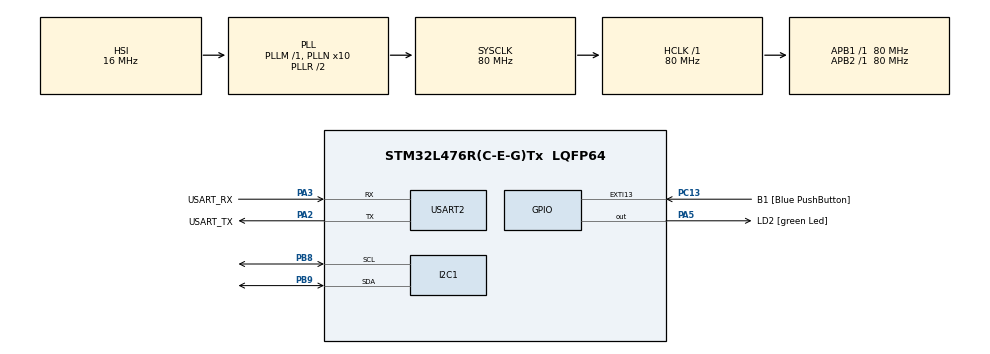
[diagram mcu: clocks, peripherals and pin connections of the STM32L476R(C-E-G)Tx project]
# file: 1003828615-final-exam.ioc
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I2C1.Timing=0x10909CEC
Mcu.Family=STM32L4
Mcu.Name=STM32L476R(C-E-G)Tx
Mcu.Package=LQFP64
NVIC.PriorityGroup=NVIC_PRIORITYGROUP_4
NVIC.USART2_IRQn=true\:0\:0\:false\:false\:true\:true\:true\:true
PA13\ (JTMS-SWDIO).GPIO_Label=TMS
PA13\ (JTMS-SWDIO).Mode=Serial_Wire
PA13\ (JTMS-SWDIO).Signal=SYS_JTMS-SWDIO
PA14\ (JTCK-SWCLK).GPIO_Label=TCK
PA14\ (JTCK-SWCLK).Mode=Serial_Wire
PA14\ (JTCK-SWCLK).Signal=SYS_JTCK-SWCLK
PA2.GPIO_Label=USART_TX
PA2.GPIO_Mode=GPIO_MODE_AF_PP
PA2.GPIO_PuPd=GPIO_NOPULL
PA2.GPIO_Speed=GPIO_SPEED_FREQ_VERY_HIGH
PA2.Mode=Asynchronous
PA2.Signal=USART2_TX
PA3.GPIO_Label=USART_RX
PA3.GPIO_Mode=GPIO_MODE_AF_PP
PA3.GPIO_PuPd=GPIO_NOPULL
PA3.GPIO_Speed=GPIO_SPEED_FREQ_VERY_HIGH
PA3.Mode=Asynchronous
PA3.Signal=USART2_RX
PA5.GPIO_Label=LD2 [green Led]
PA5.GPIO_ModeDefaultOutputPP=GPIO_MODE_OUTPUT_PP
PA5.GPIO_PuPd=GPIO_NOPULL
PA5.GPIO_Speed=GPIO_SPEED_FREQ_LOW
PA5.Signal=GPIO_Output
PB3\ (JTDO-TRACESWO).GPIO_Label=SWO
PB3\ (JTDO-TRACESWO).Signal=SYS_JTDO-SWO
PB8.Mode=I2C
PB8.Signal=I2C1_SCL
PB9.Mode=I2C
PB9.Signal=I2C1_SDA
PC13.GPIO_Label=B1 [Blue PushButton]
PC13.GPIO_ModeDefaultEXTI=GPIO_MODE_IT_FALLING
PC13.GPIO_PuPd=GPIO_NOPULL
PC13.Signal=GPXTI13
PC14-OSC32_IN\ (PC14).Mode=LSE-External-Oscillator
PC14-OSC32_IN\ (PC14).Signal=RCC_OSC32_IN
PC15-OSC32_OUT\ (PC15).Mode=LSE-External-Oscillator
PC15-OSC32_OUT\ (PC15).Signal=RCC_OSC32_OUT
PH0-OSC_IN\ (PH0).Signal=RCC_OSC_IN
PH1-OSC_OUT\ (PH1).Signal=RCC_OSC_OUT
ProjectManager.HeapSize=0x200
ProjectManager.StackSize=0x400
ProjectManager.TargetToolchain=STM32CubeIDE
RCC.ADCFreq_Value=64000000
RCC.AHBFreq_Value=80000000
RCC.APB1Freq_Value=80000000
RCC.APB1TimFreq_Value=80000000
RCC.APB2Freq_Value=80000000
RCC.APB2TimFreq_Value=80000000
RCC.CortexFreq_Value=80000000
RCC.HCLKFreq_Value=80000000
RCC.HSE_VALUE=8000000
RCC.HSI_VALUE=16000000
RCC.MSI_VALUE=4000000
RCC.PLLN=10
RCC.PLLSourceVirtual=RCC_PLLSOURCE_HSI
RCC.PREFETCH_ENABLE=1
RCC.SYSCLKFreq_VALUE=80000000
RCC.SYSCLKSource=RCC_SYSCLKSOURCE_PLLCLK
RCC.USBFreq_Value=64000000
RCC.VCOOutputFreq_Value=160000000
USART2.VirtualMode-Asynchronous=VM_ASYNC
board=NUCLEO-L476RG

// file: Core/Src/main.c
/* USER CODE BEGIN Header */
/**
  ******************************************************************************
  * @file           : main.c
  * @brief          : Main program body
  ******************************************************************************
  * @attention
  *
  * Copyright (c) 2023 STMicroelectronics.
  * All rights reserved.
  *
  * This software is licensed under terms that can be found in the LICENSE file
  * in the root directory of this software component.
  * If no LICENSE file comes with this software, it is provided AS-IS.
  *
  ******************************************************************************
  */
/* USER CODE END Header */
#include "main.h"

/* USER CODE BEGIN Includes */
#include "ssd1306.h"
#include "ssd1306_fonts.h"
#include "ring_buffer.h"
#include <stdio.h>
#include <string.h>
/* USER CODE END Includes */

I2C_HandleTypeDef hi2c1;

UART_HandleTypeDef huart2;

/* USER CODE BEGIN PV */

// Declare the ring buffer variables and variable for multiple fails
ring_buffer_t ring_buffer_rx;
uint8_t rx_buffer[10];
uint8_t rx_data;
uint8_t fails = 0;
/* USER CODE END PV */

void SystemClock_Config(void);
static void MX_GPIO_Init(void);
static void MX_USART2_UART_Init(void);
static void MX_I2C1_Init(void);

/* USER CODE BEGIN 0 */

int _write(int file, char *ptr, int len)
{
  HAL_UART_Transmit(&huart2, (uint8_t *)ptr, len, HAL_MAX_DELAY);
  return len;
}
/**
  * @brief  Rx Transfer completed callback.
  * @param  huart UART handle.
  * @retval None
  */
void HAL_UART_RxCpltCallback(UART_HandleTypeDef *huart)
{
	ring_buffer_put(&ring_buffer_rx, rx_data);

	HAL_UART_Receive_IT(&huart2, &rx_data, 1);
}

/**
  * @brief  Validate sequence received from uart.
  * @param  None
  * @retval None
  */

/* USER CODE END 0 */

int main(void)
{

  /* MCU Configuration--------------------------------------------------------*/

  /* Reset of all peripherals, Initializes the Flash interface and the Systick. */
  HAL_Init();

  /* Configure the system clock */
  SystemClock_Config();

  /* Initialize all configured peripherals */
  MX_GPIO_Init();
  MX_USART2_UART_Init();
  MX_I2C1_Init();
  /* USER CODE BEGIN 2 */
  // Init ring buffer
  ring_buffer_init(&ring_buffer_rx, rx_buffer, 10);
  // Declare UART interruption
  HAL_UART_Receive_IT(&huart2, &rx_data, 1);
  /* USER CODE END 2 */

  /* Infinite loop */
  /* USER CODE BEGIN WHILE */
  while (1)
  {
	  // Set the screen to waiting when getting the sequence
	  ssd1306_Fill(Black);
	  ssd1306_SetCursor(10, 10);
	  ssd1306_WriteString("Waiting", Font_16x26, White);
	  ssd1306_UpdateScreen();
	  uint16_t size = ring_buffer_size(&ring_buffer_rx);
	  // Check if are some input data
	  if (size != 0) {
			// The correct password is defined to validate it
			printf("Validating\r\n");
			uint8_t password[10] = "1003828615";
			uint8_t sequence[10];
			// loops through the circular buffer to check if the sequence is correct.
			for (uint8_t idx = 0; idx < 10; idx++) {
				// Get rng buffer variables
			  ring_buffer_get(&ring_buffer_rx, &sequence[idx]);
			}
			// Checks if the password is equal to the data stored in the circular buffer
			if (memcmp(password, sequence, 10) == 0) {
				// print on screen if success if password is correct.
			  ssd1306_Fill(Black);
			  ssd1306_SetCursor(10, 10);
			  ssd1306_WriteString("Success", Font_16x26, White);
			  ssd1306_UpdateScreen();
			  HAL_Delay(10000);
			} else {
			  fails += 1;
			  // Check if the wrong password is entered 3 times.
			  if (fails == 3){
				  // Prints locked after three failed attempts
				  ssd1306_Fill(Black);
				  ssd1306_SetCursor(10, 10);
				  ssd1306_WriteString("Blocked", Font_16x26, White);
				  ssd1306_UpdateScreen();
				  // Wait 30 seconds to get back to reading
				  HAL_Delay(30000);
				  // Reset fails
				  fails = 0;

			  }
			  else{
				  // fail is printed for the first two failures to enter the password
				  ssd1306_Fill(Black);
				  ssd1306_SetCursor(10, 10);
				  ssd1306_WriteString("Failed", Font_16x26, White);
				  ssd1306_UpdateScreen();
				  HAL_Delay(10000);
			  }
			}
	  }
	  HAL_Delay(1000); // to wait one second
    /* USER CODE END WHILE */

  }
}

void SystemClock_Config(void)
{
  RCC_OscInitTypeDef RCC_OscInitStruct = {0};
  RCC_ClkInitTypeDef RCC_ClkInitStruct = {0};

  /** Configure the main internal regulator output voltage
  */
  if (HAL_PWREx_ControlVoltageScaling(PWR_REGULATOR_VOLTAGE_SCALE1) != HAL_OK)
  {
    Error_Handler();
  }

  /** Initializes the RCC Oscillators according to the specified parameters
  * in the RCC_OscInitTypeDef structure.
  */
  RCC_OscInitStruct.OscillatorType = RCC_OSCILLATORTYPE_HSI;
  RCC_OscInitStruct.HSIState = RCC_HSI_ON;
  RCC_OscInitStruct.HSICalibrationValue = RCC_HSICALIBRATION_DEFAULT;
  RCC_OscInitStruct.PLL.PLLState = RCC_PLL_ON;
  RCC_OscInitStruct.PLL.PLLSource = RCC_PLLSOURCE_HSI;
  RCC_OscInitStruct.PLL.PLLM = 1;
  RCC_OscInitStruct.PLL.PLLN = 10;
  RCC_OscInitStruct.PLL.PLLP = RCC_PLLP_DIV7;
  RCC_OscInitStruct.PLL.PLLQ = RCC_PLLQ_DIV2;
  RCC_OscInitStruct.PLL.PLLR = RCC_PLLR_DIV2;
  if (HAL_RCC_OscConfig(&RCC_OscInitStruct) != HAL_OK)
  {
    Error_Handler();
  }

  /** Initializes the CPU, AHB and APB buses clocks
  */
  RCC_ClkInitStruct.ClockType = RCC_CLOCKTYPE_HCLK|RCC_CLOCKTYPE_SYSCLK
                              |RCC_CLOCKTYPE_PCLK1|RCC_CLOCKTYPE_PCLK2;
  RCC_ClkInitStruct.SYSCLKSource = RCC_SYSCLKSOURCE_PLLCLK;
  RCC_ClkInitStruct.AHBCLKDivider = RCC_SYSCLK_DIV1;
  RCC_ClkInitStruct.APB1CLKDivider = RCC_HCLK_DIV1;
  RCC_ClkInitStruct.APB2CLKDivider = RCC_HCLK_DIV1;

  if (HAL_RCC_ClockConfig(&RCC_ClkInitStruct, FLASH_LATENCY_4) != HAL_OK)
  {
    Error_Handler();
  }
}

static void MX_I2C1_Init(void)
{

  hi2c1.Instance = I2C1;
  hi2c1.Init.Timing = 0x10909CEC;
  hi2c1.Init.OwnAddress1 = 0;
  hi2c1.Init.AddressingMode = I2C_ADDRESSINGMODE_7BIT;
  hi2c1.Init.DualAddressMode = I2C_DUALADDRESS_DISABLE;
  hi2c1.Init.OwnAddress2 = 0;
  hi2c1.Init.OwnAddress2Masks = I2C_OA2_NOMASK;
  hi2c1.Init.GeneralCallMode = I2C_GENERALCALL_DISABLE;
  hi2c1.Init.NoStretchMode = I2C_NOSTRETCH_DISABLE;
  if (HAL_I2C_Init(&hi2c1) != HAL_OK)
  {
    Error_Handler();
  }

  /** Configure Analogue filter
  */
  if (HAL_I2CEx_ConfigAnalogFilter(&hi2c1, I2C_ANALOGFILTER_ENABLE) != HAL_OK)
  {
    Error_Handler();
  }

  /** Configure Digital filter
  */
  if (HAL_I2CEx_ConfigDigitalFilter(&hi2c1, 0) != HAL_OK)
  {
    Error_Handler();
  }

}

static void MX_USART2_UART_Init(void)
{

  huart2.Instance = USART2;
  huart2.Init.BaudRate = 115200;
  huart2.Init.WordLength = UART_WORDLENGTH_8B;
  huart2.Init.StopBits = UART_STOPBITS_1;
  huart2.Init.Parity = UART_PARITY_NONE;
  huart2.Init.Mode = UART_MODE_TX_RX;
  huart2.Init.HwFlowCtl = UART_HWCONTROL_NONE;
  huart2.Init.OverSampling = UART_OVERSAMPLING_16;
  huart2.Init.OneBitSampling = UART_ONE_BIT_SAMPLE_DISABLE;
  huart2.AdvancedInit.AdvFeatureInit = UART_ADVFEATURE_NO_INIT;
  if (HAL_UART_Init(&huart2) != HAL_OK)
  {
    Error_Handler();
  }

}

static void MX_GPIO_Init(void)
{
  GPIO_InitTypeDef GPIO_InitStruct = {0};

  /* GPIO Ports Clock Enable */
  __HAL_RCC_GPIOC_CLK_ENABLE();
  __HAL_RCC_GPIOH_CLK_ENABLE();
  __HAL_RCC_GPIOA_CLK_ENABLE();
  __HAL_RCC_GPIOB_CLK_ENABLE();

  /*Configure GPIO pin Output Level */
  HAL_GPIO_WritePin(LD2_GPIO_Port, LD2_Pin, GPIO_PIN_RESET);

  /*Configure GPIO pin : B1_Pin */
  GPIO_InitStruct.Pin = B1_Pin;
  GPIO_InitStruct.Mode = GPIO_MODE_IT_FALLING;
  GPIO_InitStruct.Pull = GPIO_NOPULL;
  HAL_GPIO_Init(B1_GPIO_Port, &GPIO_InitStruct);

  /*Configure GPIO pin : LD2_Pin */
  GPIO_InitStruct.Pin = LD2_Pin;
  GPIO_InitStruct.Mode = GPIO_MODE_OUTPUT_PP;
  GPIO_InitStruct.Pull = GPIO_NOPULL;
  GPIO_InitStruct.Speed = GPIO_SPEED_FREQ_LOW;
  HAL_GPIO_Init(LD2_GPIO_Port, &GPIO_InitStruct);

}

void Error_Handler(void)
{
  __disable_irq();
  while (1)
  {
  }
}
